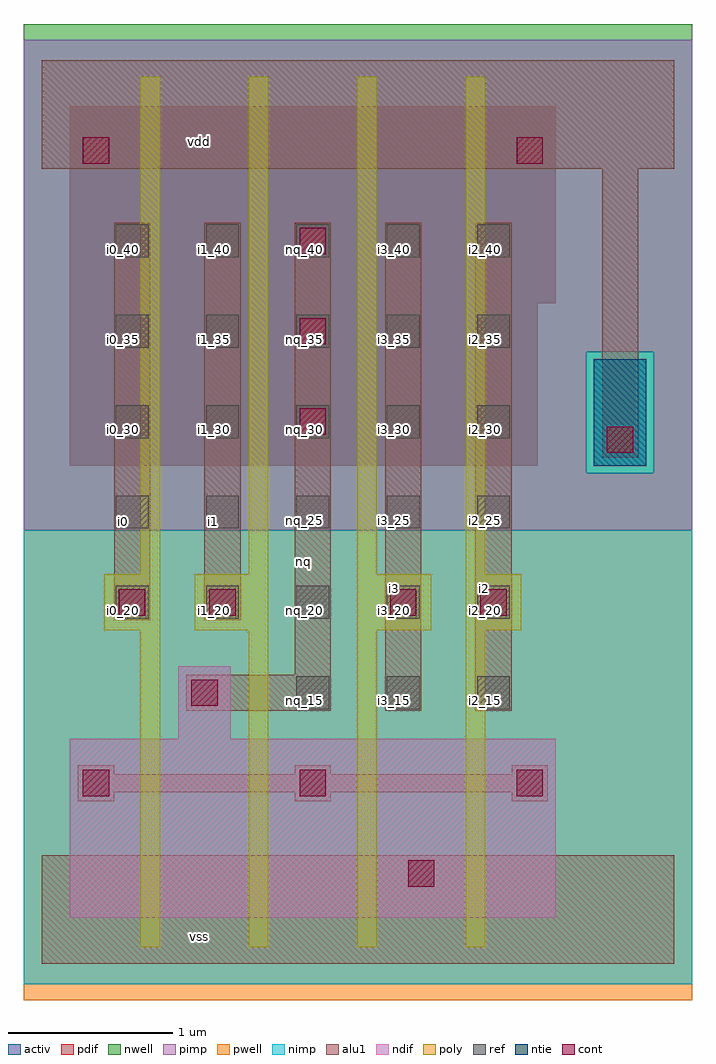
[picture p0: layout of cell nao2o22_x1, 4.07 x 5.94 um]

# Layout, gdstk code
import gdstk
lib = gdstk.Library(unit=1e-6, precision=2.5e-09)
def R(c, l, rs):  # rectangles x0, y0, x1, y1
    for r in rs: c.add(gdstk.rectangle(r[:2], r[2:], *l))
def A(c, l, x, y, w, h, nx, ny, dx, dy):  # array of equal rectangles
    R(c, l, [(x+i*dx, y+j*dy, x+i*dx+w, y+j*dy+h) for i in range(nx) for j in range(ny)])
ndif = (3, 0)
pdif = (4, 0)
ntie = (5, 0)
ref = (24, 0)
cont = (25, 0)
pwell = (41, 0)
nwell = (42, 0)
activ = (43, 0)
pimp = (44, 0)
nimp = (45, 0)
poly = (46, 0)
alu1 = (49, 0)

nao2o22_x1 = lib.new_cell('nao2o22_x1')
R(nao2o22_x1, ndif, [(0.17,0.28,3.13,1.37), (0.17,0.28,3.13,1.37), (0.83,1.37,1.15,1.81), (0.83,1.37,1.15,1.81)])
R(nao2o22_x1, pdif, [(0.17,3.03,3.02,4.02), (0.17,3.03,3.02,4.02), (0.17,4.02,3.13,5.22), (0.17,4.02,3.13,5.22)])
R(nao2o22_x1, ntie, [(3.36,3.03,3.68,3.68), (3.36,3.03,3.68,3.68)])
A(nao2o22_x1, ref, 1.55, 1.55, 0.2, 0.2, 3, 1, 0.55, 0)
A(nao2o22_x1, ref, 0.45, 2.1, 0.2, 0.2, 5, 5, 0.55, 0.55)
A(nao2o22_x1, cont, 0.25, 1.02, 0.16, 0.16, 3, 1, 1.32, 0)
A(nao2o22_x1, cont, 1.57, 3.22, 0.16, 0.16, 1, 3, 0, 0.55)
R(nao2o22_x1, cont, [(2.23,0.47,2.39,0.63), (0.91,1.57,1.07,1.73), (0.47,2.12,0.63,2.28), (1.02,2.12,1.18,2.28), (2.12,2.12,2.28,2.28), (2.67,2.12,2.83,2.28), (3.44,3.11,3.6,3.27), (0.25,4.87,0.41,5.03), (2.89,4.87,3.05,5.03)])
R(nao2o22_x1, pwell, [(-0.11,-0.22,3.96,2.64)])
R(nao2o22_x1, nwell, [(-0.11,2.64,3.96,5.72)])
R(nao2o22_x1, activ, [(0.17,0.28,3.13,1.37), (0.17,0.28,3.13,1.37), (0.83,1.37,1.15,1.81), (0.83,1.37,1.15,1.81), (0.17,3.03,3.02,4.02), (0.17,3.03,3.02,4.02), (3.36,3.03,3.68,3.68), (3.36,3.03,3.68,3.68), (0.17,4.02,3.13,5.22), (0.17,4.02,3.13,5.22)])
R(nao2o22_x1, pimp, [(-0.11,2.64,3.96,2.985), (-0.11,2.985,3.315,3.725), (3.725,2.985,3.96,3.725), (-0.11,3.725,3.96,5.625)])
R(nao2o22_x1, nimp, [(-0.11,-0.125,3.96,2.64), (3.315,2.985,3.725,3.725)])
A(nao2o22_x1, poly, 0.6, 0.1, 0.12, 1.93, 4, 1, 0.66, 0)
A(nao2o22_x1, poly, 0.6, 2.37, 0.12, 3.03, 4, 1, 0.66, 0)
R(nao2o22_x1, poly, [(0.38,2.03,0.72,2.37), (0.93,2.03,1.38,2.37), (1.92,2.03,2.37,2.37), (2.58,2.03,2.92,2.37)])
A(nao2o22_x1, alu1, 0.22, 0.99, 0.22, 0.055, 3, 2, 1.32, 0.165)
R(nao2o22_x1, alu1, [(0,0,3.85,0.66), (0.22,1.045,3.08,1.155), (0.88,1.54,1.76,1.76), (2.09,1.54,2.31,4.51), (2.64,1.54,2.86,4.51), (1.54,1.76,1.76,4.51), (0.44,2.09,0.66,4.51), (0.99,2.09,1.21,4.51), (3.41,3.08,3.63,4.84), (0,4.84,3.85,5.5)])
nao2o22_x1.add(gdstk.Label('vss', (0.9625,0.165), layer=49, texttype=0))
nao2o22_x1.add(gdstk.Label('i2', (2.695,2.2825), layer=49, texttype=0))
nao2o22_x1.add(gdstk.Label('i3', (2.145,2.2825), layer=49, texttype=0))
nao2o22_x1.add(gdstk.Label('nq', (1.595,2.4475), layer=49, texttype=0))
nao2o22_x1.add(gdstk.Label('i1', (1.045,2.695), layer=49, texttype=0))
nao2o22_x1.add(gdstk.Label('i0', (0.495,2.695), layer=49, texttype=0))
nao2o22_x1.add(gdstk.Label('vdd', (0.9625,5.005), layer=49, texttype=0))
nao2o22_x1.add(gdstk.Label('nq_35', (1.6,3.8), layer=24, texttype=0))
nao2o22_x1.add(gdstk.Label('nq_30', (1.6,3.25), layer=24, texttype=0))
nao2o22_x1.add(gdstk.Label('nq_25', (1.6,2.7), layer=24, texttype=0))
nao2o22_x1.add(gdstk.Label('nq_20', (1.6,2.15), layer=24, texttype=0))
nao2o22_x1.add(gdstk.Label('nq_15', (1.6,1.6), layer=24, texttype=0))
nao2o22_x1.add(gdstk.Label('i2_15', (2.7,1.6), layer=24, texttype=0))
nao2o22_x1.add(gdstk.Label('i2_20', (2.7,2.15), layer=24, texttype=0))
nao2o22_x1.add(gdstk.Label('i2_25', (2.7,2.7), layer=24, texttype=0))
nao2o22_x1.add(gdstk.Label('i2_30', (2.7,3.25), layer=24, texttype=0))
nao2o22_x1.add(gdstk.Label('i2_35', (2.7,3.8), layer=24, texttype=0))
nao2o22_x1.add(gdstk.Label('i3_35', (2.15,3.8), layer=24, texttype=0))
nao2o22_x1.add(gdstk.Label('i3_30', (2.15,3.25), layer=24, texttype=0))
nao2o22_x1.add(gdstk.Label('i3_25', (2.15,2.7), layer=24, texttype=0))
nao2o22_x1.add(gdstk.Label('i3_20', (2.15,2.15), layer=24, texttype=0))
nao2o22_x1.add(gdstk.Label('i3_15', (2.15,1.6), layer=24, texttype=0))
nao2o22_x1.add(gdstk.Label('i1_20', (1.05,2.15), layer=24, texttype=0))
nao2o22_x1.add(gdstk.Label('i1_25', (1.05,2.7), layer=24, texttype=0))
nao2o22_x1.add(gdstk.Label('i1_30', (1.05,3.25), layer=24, texttype=0))
nao2o22_x1.add(gdstk.Label('i0_30', (0.5,3.25), layer=24, texttype=0))
nao2o22_x1.add(gdstk.Label('i0_25', (0.5,2.7), layer=24, texttype=0))
nao2o22_x1.add(gdstk.Label('i0_20', (0.5,2.15), layer=24, texttype=0))
nao2o22_x1.add(gdstk.Label('i0_40', (0.5,4.35), layer=24, texttype=0))
nao2o22_x1.add(gdstk.Label('i0_35', (0.5,3.8), layer=24, texttype=0))
nao2o22_x1.add(gdstk.Label('i1_35', (1.05,3.8), layer=24, texttype=0))
nao2o22_x1.add(gdstk.Label('i1_40', (1.05,4.35), layer=24, texttype=0))
nao2o22_x1.add(gdstk.Label('nq_40', (1.6,4.35), layer=24, texttype=0))
nao2o22_x1.add(gdstk.Label('i3_40', (2.15,4.35), layer=24, texttype=0))
nao2o22_x1.add(gdstk.Label('i2_40', (2.7,4.35), layer=24, texttype=0))

lib.write_gds('nao2o22_x1.gds')
